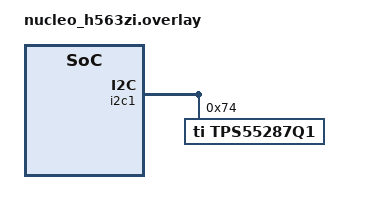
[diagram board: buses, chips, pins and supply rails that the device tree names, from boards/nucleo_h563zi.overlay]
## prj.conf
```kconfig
# Logging
CONFIG_LOG=y
CONFIG_LOG_DEFAULT_LEVEL=3
CONFIG_REGULATOR_TPS55287Q1_LOG_LEVEL=4

# Enable floating-point printf support
CONFIG_CBPRINTF_FP_SUPPORT=y

# SPI support
# CONFIG_SPI=y

# I2C support
CONFIG_I2C=y

# GPIO support
# CONFIG_GPIO=y

# Regulator subsystem
CONFIG_REGULATOR=y
CONFIG_REGULATOR_TPS55287Q1=y

# Enable coo_commons library
# CONFIG_COO_COMMONS=y

# Optional: Network support (for future MQTT telemetry)
# CONFIG_NETWORKING=y
# CONFIG_COO_NETWORK=y
# CONFIG_COO_JSON=y
# CONFIG_COO_MQTT=y

CONFIG_COO_CONFIG_LIB=y
CONFIG_COO_HEATERS_LIB=y
```

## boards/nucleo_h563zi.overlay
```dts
/*
 * Devicetree overlay for NUCLEO-H563ZI:
 * - TPS55287Q1 Regulator on I2C1
 */

/ {
    aliases {
        high-current-heater-test = &tps55287q1;
    };
};

&i2c1 {
    status = "okay";

    tps55287q1: tps55287q1@74 {
        compatible = "ti,tps55287q1";
        reg = <0x74>;
        status = "okay";

        intfb = <3>;
        force-discharge;
        r-sense-uohm = <20000>;
        
        /* Regulator common properties */
		regulator-name = "TPS55287Q1";
        regulator-active-discharge = <0>;
    };
};
```

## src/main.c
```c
#include <zephyr/kernel.h>
#include <zephyr/logging/log.h>
#include <zephyr/device.h>
#include <math.h>

#include <config.h>
#include <heater_manager.h>

LOG_MODULE_REGISTER(main, LOG_LEVEL_INF);

int main(void) {
    LOG_INF("Starting High Current Heater Demo");

    /* Load default configuration */
    thermal_config_t *config = config_load_defaults();
    if (!config) {
        LOG_ERR("Failed to load default config");
        return -1;
    }

    /* Configure Heater 1 as High Power for testing the regulator integration */
    /* This overrides the default low-power setting */
    strncpy(config->heaters[0].id, "high-power-1", MAX_ID_LENGTH - 1);
    config->heaters[0].type = HEATER_TYPE_HIGH_POWER;
    config->heaters[0].max_power_w = 40.0f;     // 40W max
    config->heaters[0].resistance_ohms = 30.0f;  // 30 Ohms
    config->heaters[0].regulator_dev = DEVICE_DT_GET(DT_ALIAS(high_current_heater_test));
    config->heaters[0].enabled = true;

    /* Initialize heater manager */
    int ret = heater_manager_init(config);
    if (ret < 0) {
        LOG_ERR("Failed to initialize heater manager: %d", ret);
        return -1;
    }

    LOG_INF("Heater manager initialized. Starting power cycle loop...");

    LOG_INF("Starting power ramp test: 0% to 35% with 1% increments");

    for (int i = 0; i <= 35; i++) {
        float p = (float)i;
        heater_manager_set_power("high-power-1", p);
        
        float current_p = 0.0f;
        heater_manager_get_power("high-power-1", &current_p);
        
        float expected_v = sqrtf(30.0f * 40.0f * p / 100.0f);
        LOG_INF("Set Power[%%]: %.1f%%, Readback[%%]: %.1f%%, Expected Voltage: %.3fV", 
                (double)p, (double)current_p, (double)expected_v);
        
        k_sleep(K_MSEC(6000));
    }

    heater_manager_set_power("high-power-1", 0.0f);

    while (1) {
        k_sleep(K_FOREVER);
        // Keep the main thread alive or loop indefinitely if needed
        // For this test, we just stop after the ramp.
    }
    return 0;
}
```
